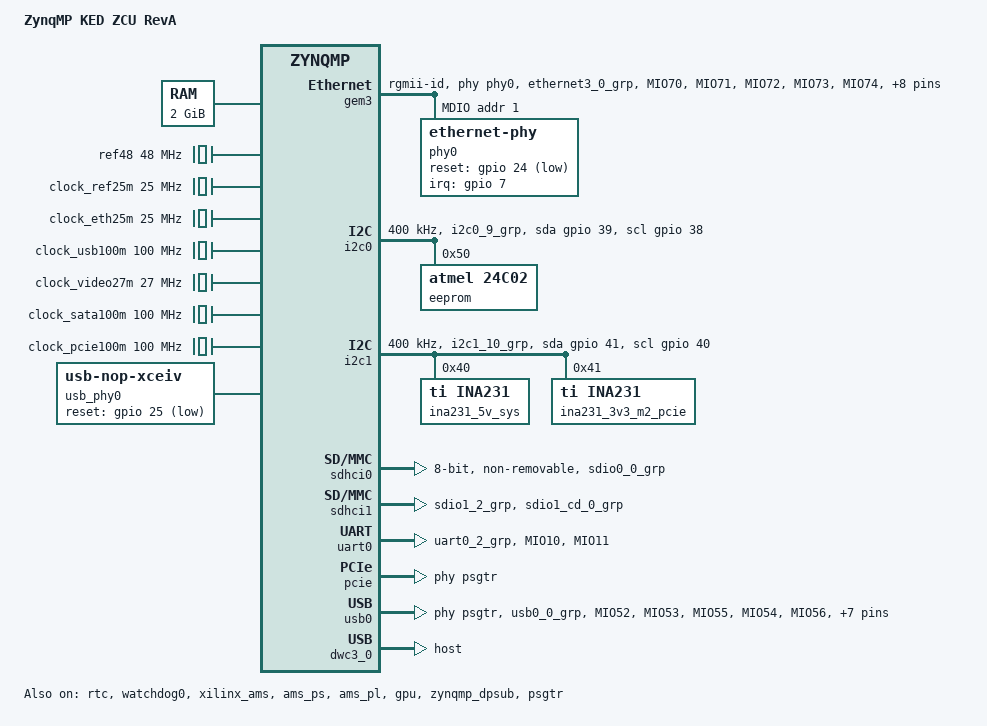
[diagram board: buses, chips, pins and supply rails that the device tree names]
// SPDX-License-Identifier: GPL-2.0+
/*
 * dts file for Xilinx ZynqMP ZCU102 RevA
 *
 * (C) Copyright 2015 - 2021, Xilinx, Inc.
 *
 * Michal Simek <michal.simek@xilinx.com>
 */

/dts-v1/;

#include "zynqmp.dtsi"
#include "zynqmp-clk-ccf.dtsi"
#include <dt-bindings/input/input.h>
#include <dt-bindings/gpio/gpio.h>
#include <dt-bindings/interrupt-controller/irq.h>
#include <dt-bindings/pinctrl/pinctrl-zynqmp.h>
#include <dt-bindings/phy/phy.h>
#include <dt-bindings/media/xilinx-vip.h>  
#include "zynqmp-ked-zcu-revA-pl.dtsi"

/ {
	model = "ZynqMP KED ZCU RevA";
	compatible = "xlnx,zynqmp-ked-zcu-revA", "xlnx,zynqmp-ked-zcu", "xlnx,zynqmp";

	aliases {
		ethernet0 = &gem3;
		serial0 = &uart0;
		i2c0 = &i2c0;
		i2c1 = &i2c1;
		i2c2 = &csi_iic;
		i2c3 = &ext_iic;
		mmc0 = &sdhci1;
		mmc1 = &sdhci0;
		nvmem0 = &eeprom;
		rtc0 = &rtc;
		usb0 = &usb0;
	};

	chosen {
		bootargs = "earlycon";
		stdout-path = "serial0:115200n8";
	};

	memory {
		device_type = "memory";
		reg = <0x0 0x0 0x0 0x80000000>;  
	};	

	reserved-memory {
		#address-cells = <2>;
		#size-cells = <2>;
		ranges;
	};


	/* 48MHz reference crystal */
	ref48: ref48M {
		compatible = "fixed-clock";
		#clock-cells = <0>;
		clock-frequency = <48000000>;
	};

	/* 25MHz reference crystal */
	clock_ref25m: ref25M {
		compatible = "fixed-clock";
		#clock-cells = <0>;
		clock-frequency = <25000000>;
	};
	
	clock_eth25m: out25M {
		#clock-cells = <0>;
		compatible = "fixed-clock";
		clock-frequency = <25000000>;
	};
	
	clock_usb100m: out100MUSB {
		compatible = "fixed-clock";
		#clock-cells = <0>;
		clock-frequency = <100000000>;
	};

	clock_video27m: out27M {
		#clock-cells = <0>;
		compatible = "fixed-clock";
		clock-frequency = <27000000>;
	};

	clock_sata100m: out100M {
		#clock-cells = <0>;
		compatible = "fixed-clock";
		clock-frequency = <100000000>;
	};
	
	clock_pcie100m: out100MPCIe {
		#clock-cells = <0>;
		compatible = "fixed-clock";
		clock-frequency = <100000000>;
	};
		
	usb_phy0: phy0 {
		#phy-cells = <0>;
		compatible = "usb-nop-xceiv";
		reset-gpios = <&gpio 25 GPIO_ACTIVE_LOW>;
	};


	/* dpcon: usato solo dal grafo out_dp, v. nota sopra.
	 * dpcon {
	 * compatible = "dp-connector";
	 * label = "P11";
	 * type = "full-size";
	 * 
	 * port {
	 * dpcon_in: endpoint {
	 * remote-endpoint = <&dpsub_dp_out>;
	 * };
	 * };
	 * };
	 */

};


&gpio {
	status = "okay";
	pinctrl-names = "default";
	pinctrl-0 = <&pinctrl_gpio_default>;
};

&gem3 {
	status = "okay";
	phy-handle = <&phy0>;
	phy-mode = "rgmii-id";
	pinctrl-names = "default";
	pinctrl-0 = <&pinctrl_gem3_default>;
	nvmem-cells        = <&mac0>;
	nvmem-cell-names   = "mac-address";	
	mdio: mdio {
		#address-cells = <1>;
		#size-cells = <0>;	
		phy0: ethernet-phy@1 {
			reg = <1>;
			interrupt-parent  = <&gpio>;                 
			interrupts        = <7 IRQ_TYPE_LEVEL_LOW>;  
			reset-gpios       = <&gpio 24 GPIO_ACTIVE_LOW>;
			reset-assert-us   = <100000>;   /* 100 ms tenuto basso           */
			reset-deassert-us = <30000>;   /* 30 ms di stabilizzazione     */
		};
	};		
};

&i2c0 {
	status = "okay";
	clock-frequency = <400000>;
	pinctrl-names = "default", "gpio";
	pinctrl-0 = <&pinctrl_i2c0_default>;
	pinctrl-1 = <&pinctrl_i2c0_gpio>;
	scl-gpios = <&gpio 38 GPIO_ACTIVE_HIGH>;
	sda-gpios = <&gpio 39 GPIO_ACTIVE_HIGH>;
	
	/* 24AA02-E48: MAC a offset 0xFA */
	eeprom:  eeprom@50 {
		compatible = "atmel,24c02", "atmel,24c02-eeprom";
		reg        = <0x50>;
		pagesize   = <16>;
		#address-cells = <1>;
		#size-cells    = <1>;
		mac0: macaddr@fa { 
			reg = <0xFA 0x06>;
			label = "mac-address";
		};
	};
	/*
	 * 5P49V6965 clock generator: configurato da FSBL, non gestito da Linux.
	 * I clock sono modellati come fixed-clock (clock_usb100m, clock_video27m,
	 * clock_pcie100m) con le frequenze che FSBL ha già impostato.
	 */
};

&i2c1 {
	status = "okay";
	clock-frequency = <400000>;
	pinctrl-names = "default", "gpio";
	pinctrl-0 = <&pinctrl_i2c1_default>;
	pinctrl-1 = <&pinctrl_i2c1_gpio>;
	scl-gpios = <&gpio 40 GPIO_ACTIVE_HIGH>;
	sda-gpios = <&gpio 41 GPIO_ACTIVE_HIGH>;
	/* INA231AIYFF - System 5V current/power monitor, Rshunt = 20 mOhm */
	
	ina231_5v_sys: power-monitor@40 {
		compatible = "ti,ina231";
		reg = <0x40>;
		shunt-resistor = <20000>; 
	};
	
	/* INA231AIYFF - 3V3 M.2 PCIe connector current/power monitor, Rshunt = 20 mOhm */
	
	ina231_3v3_m2_pcie: power-monitor@41 {
		compatible = "ti,ina231";
		reg = <0x41>;
		shunt-resistor = <20000>; 
	};
		
};

&rtc {
	status = "okay";
};

/* EMMC */
&sdhci0 { /* MIO13-23 - 16GB emmc MTFC16GAPALBH-IT */
	status = "okay";
	pinctrl-names = "default";
	pinctrl-0 = <&pinctrl_sdhci0_default>;
	non-removable;
	disable-wp;
	bus-width = <8>;
	xlnx,mio-bank = <0>;
};

/* SD1 with level shifter */
&sdhci1 {
	status = "okay";
	/*
	 * 1.0 revision has level shifter and this property should be
	 * removed for supporting UHS mode
	 */
	no-1-8-v;
	disable-wp;
	pinctrl-names = "default";
	pinctrl-0 = <&pinctrl_sdhci1_default>;
	xlnx,mio-bank = <1>;
};

&uart0 {
	status = "okay";
	pinctrl-names = "default";
	pinctrl-0 = <&pinctrl_uart0_default>;
};

&watchdog0 {
	status = "okay";
};

&xilinx_ams {
	status = "okay";
};

&pinctrl0 {
	status = "okay";
	
	pinctrl_i2c0_default: i2c0-default {
		mux {
			groups = "i2c0_9_grp";
			function = "i2c0";
		};

		conf {
			groups = "i2c0_9_grp";
			bias-pull-up;
			slew-rate = <SLEW_RATE_SLOW>;
			power-source = <IO_STANDARD_LVCMOS18>;
		};
	};

	pinctrl_i2c0_gpio: i2c0-gpio {
		mux {
			groups = "gpio0_38_grp", "gpio0_39_grp";
			function = "gpio0";
		};

		conf {
			groups = "gpio0_38_grp", "gpio0_39_grp";
			slew-rate = <SLEW_RATE_SLOW>;
			power-source = <IO_STANDARD_LVCMOS18>;
		};
	};

	pinctrl_i2c1_default: i2c1-default {
		mux {
			groups = "i2c1_10_grp";
			function = "i2c1";
		};

		conf {
			groups = "i2c1_10_grp";
			bias-pull-up;
			slew-rate = <SLEW_RATE_SLOW>;
			power-source = <IO_STANDARD_LVCMOS18>;
		};
	};

	pinctrl_i2c1_gpio: i2c1-gpio {
		mux {
			groups = "gpio0_40_grp", "gpio0_41_grp";
			function = "gpio0";
		};

		conf {
			groups = "gpio0_40_grp", "gpio0_41_grp";
			slew-rate = <SLEW_RATE_SLOW>;
			power-source = <IO_STANDARD_LVCMOS18>;
		};
	};

	pinctrl_uart0_default: uart0-default {
		mux {
			groups = "uart0_2_grp";
			function = "uart0";
		};

		conf {
			groups = "uart0_2_grp";
			slew-rate = <SLEW_RATE_SLOW>;
			power-source = <IO_STANDARD_LVCMOS18>;
		};

		conf-rx {
			pins = "MIO10";
			bias-high-impedance;
		};

		conf-tx {
			pins = "MIO11";
			bias-disable;
		};
	};

	pinctrl_usb0_default: usb0-default {
		mux {
			groups = "usb0_0_grp";
			function = "usb0";
		};

		conf {
			groups = "usb0_0_grp";
			power-source = <IO_STANDARD_LVCMOS18>;
		};

		conf-rx {
			pins = "MIO52", "MIO53", "MIO55";
			bias-high-impedance;
			drive-strength = <12>;
			slew-rate = <SLEW_RATE_FAST>;
		};

		conf-tx {
			pins = "MIO54", "MIO56", "MIO57", "MIO58", "MIO59",
			       "MIO60", "MIO61", "MIO62", "MIO63";
			bias-disable;
			drive-strength = <4>;
			slew-rate = <SLEW_RATE_SLOW>;
		};
	};

	pinctrl_gem3_default: gem3-default {
		mux {
			function = "ethernet3";
			groups = "ethernet3_0_grp";
		};

		conf {
			groups = "ethernet3_0_grp";
			slew-rate = <SLEW_RATE_SLOW>;
			power-source = <IO_STANDARD_LVCMOS18>;
		};

		conf-rx {
			pins = "MIO70", "MIO71", "MIO72", "MIO73", "MIO74",
									"MIO75";
			bias-high-impedance;
			low-power-disable;
		};

		conf-tx {
			pins = "MIO64", "MIO65", "MIO66", "MIO67", "MIO68",
									"MIO69";
			bias-disable;
			low-power-enable;
		};

		mux-mdio {
			function = "mdio3";
			groups = "mdio3_0_grp";
		};

		conf-mdio {
			groups = "mdio3_0_grp";
			slew-rate = <SLEW_RATE_SLOW>;
			power-source = <IO_STANDARD_LVCMOS18>;
			bias-disable;
		};
		/*
		mux-gpio {
			groups   = "gpio7", "gpio24";
			function = "gpio";
		};
		*/		
	};
	
	pinctrl_sdhci0_default: sdhci0-default {
		conf {
			groups = "sdio0_0_grp";
			slew-rate = <SLEW_RATE_SLOW>;
			power-source = <IO_STANDARD_LVCMOS18>;
			bias-disable;
		};

		mux {
			groups = "sdio0_0_grp";
			function = "sdio0";
		};
	};
	
	pinctrl_sdhci1_default: sdhci1-default {
		mux {
			groups = "sdio1_2_grp";
			function = "sdio1";
		};

		conf {
			groups = "sdio1_2_grp";
			slew-rate = <SLEW_RATE_SLOW>;
			power-source = <IO_STANDARD_LVCMOS18>;
			bias-disable;
		};

		mux-cd {
			groups = "sdio1_cd_0_grp";
			function = "sdio1_cd";
		};

		conf-cd {
			groups = "sdio1_cd_0_grp";
			bias-high-impedance;
			bias-pull-up;
			slew-rate = <SLEW_RATE_SLOW>;
			power-source = <IO_STANDARD_LVCMOS18>;
		};
	};

	pinctrl_gpio_default: gpio-default {
		mux-sw {
			function = "gpio0";
			groups = "gpio0_7_grp","gpio0_23_grp", "gpio0_24_grp", "gpio0_25_grp";
		};

		conf-sw {
			groups = "gpio0_7_grp", "gpio0_23_grp", "gpio0_24_grp", "gpio0_25_grp";
			slew-rate = <SLEW_RATE_SLOW>;
			power-source = <IO_STANDARD_LVCMOS18>;
		};

		conf-pull-up {
			pins = "MIO7", "MIO23", "MIO24", "MIO25";
			bias-pull-up;
		};

	};
};

&ams_ps {
	status = "okay";
};

&ams_pl {
	status = "okay";
};

&pss_ref_clk {
	clock-frequency = <33333333>;
};

&video_clk {
	clock-frequency = <50000000>;
};

&fpd_dma_chan1 {
	status = "okay";
};
&fpd_dma_chan2 {
	status = "okay";
};
&fpd_dma_chan3 {
	status = "okay";
};
&fpd_dma_chan4 {
	status = "okay";
};
&fpd_dma_chan5 {
	status = "okay";
};
&fpd_dma_chan6 {
	status = "okay";
};
&fpd_dma_chan7 {
	status = "okay";
};
&fpd_dma_chan8 {
	status = "okay";
};

&gpu {
	status = "okay";
};

&zynqmp_dpdma {
	status = "okay";
};

&zynqmp_dpsub {
	status = "okay";
	phy-names = "dp-phy0";
	phys = <&psgtr 3 PHY_TYPE_DP 0 1>;
	xlnx,max-lanes = <1>;
};

/* Kernel xlnx 2023.2: il nodo dpsub non espone il grafo di porte DP
 * (label out_dp assente, connettore gestito dal driver via AUX/HPD).
 * Riattivare questo blocco e il nodo dpcon passando a un kernel con
 * lo zynqmp.dtsi a ports (mainline >= 6.6 / vendor recenti).
 * &out_dp {
 * 	dpsub_dp_out: endpoint {
 * 		remote-endpoint = <&dpcon_in>;
 * 	};
 * };
 */

&psgtr {
    status = "okay";
    /*
     * Il 5P49V6965 è configurato da FSBL: Linux usa solo fixed-clock
     * per comunicare le frequenze al driver psgtr, senza riprogrammare il chip.
     *   MGTCLK0 (ref0) – 100 MHz → lane 2 USB3       (vc5 OUT1, settato da FSBL)
     *   MGTCLK1 (ref1) – 27  MHz → lane 3 DP         (vc5 OUT2, settato da FSBL)
     *   MGTCLK2 (ref2) – non usato
     *   MGTCLK3 (ref3) – 100 MHz → lane 0+1 PCIe x2  (oscillatore esterno)
     */
    clocks = <&clock_usb100m>,   /* ref0 – MGTCLK0 – 100 MHz → USB3      */
             <&clock_video27m>,  /* ref1 – MGTCLK1 – 27  MHz → DP        */
             <&clock_sata100m>,  /* ref2 – MGTCLK2 – non usato           */
             <&clock_pcie100m>;  /* ref3 – MGTCLK3 – 100 MHz → PCIe x2  */
    clock-names = "ref0", "ref1", "ref2", "ref3";
};

/* PCIe x2: GTR lane 0+1, refclk 3 = MGTCLK3 = 100 MHz (oscillatore esterno).
 * GPIO 78 (EMIO 0) abilita alimentazione M.2 prima del probe.
 */
&pcie {
    status = "okay";
    phys = <&psgtr 0 PHY_TYPE_PCIE 0 3>,  /* PCIe lane 0, controller instance 0, MGTCLK3 */
           <&psgtr 1 PHY_TYPE_PCIE 1 3>;  /* PCIe lane 1, controller instance 1, MGTCLK3 */
};

/* ULPI SMSC USB3320 – GTR lane 2, refclk 0 = MGTCLK0 = 100 MHz (vc5 OUT1, settato da FSBL) */
&usb0 {
	status = "okay";
	pinctrl-names = "default";
	pinctrl-0 = <&pinctrl_usb0_default>;	
	phy-names = "usb3-phy";
	phys = <&psgtr 2 PHY_TYPE_USB3 0 0>;  /* lane 2, refclk 0 = MGTCLK0 = 100 MHz */
};

&dwc3_0 {
	status = "okay";
	dr_mode = "host";
	maximum-speed = "super-speed";
};




